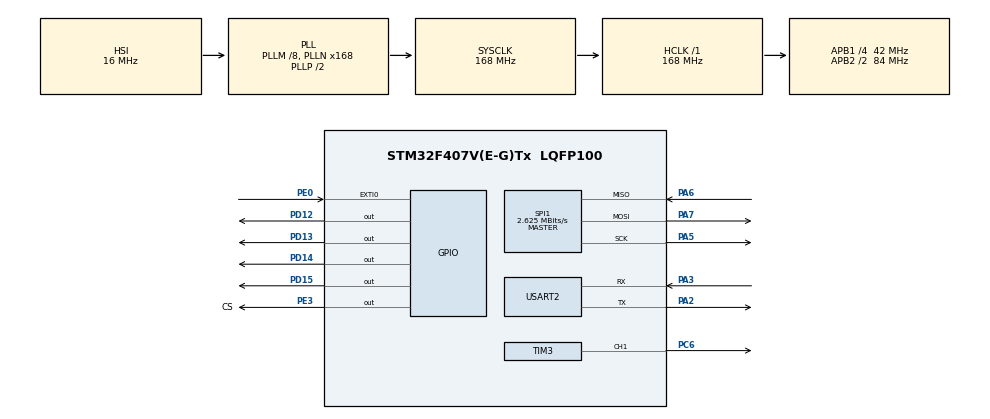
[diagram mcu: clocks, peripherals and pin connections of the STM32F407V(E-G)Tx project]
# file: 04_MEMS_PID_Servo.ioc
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FREERTOS.Queues01=aciKuyrukPID,1,uint32_t,0,Dynamic,NULL,NULL;aciKuyrukUART,1,uint32_t,0,Dynamic,NULL,NULL
FREERTOS.Tasks01=defaultTask,24,128,StartDefaultTask,Default,NULL,Dynamic,NULL,NULL;sensorTask,40,256,sensorStartTask,Default,NULL,Dynamic,NULL,NULL;pidTask,24,256,pidStartTask,Default,NULL,Dynamic,NULL,NULL;uartTask,8,256,uartStartTask,Default,NULL,Dynamic,NULL,NULL
Mcu.Family=STM32F4
Mcu.Name=STM32F407V(E-G)Tx
Mcu.Package=LQFP100
NVIC.EXTI0_IRQn=true\:5\:0\:false\:false\:true\:true\:true\:true\:true
NVIC.PriorityGroup=NVIC_PRIORITYGROUP_4
NVIC.TIM6_DAC_IRQn=true\:15\:0\:false\:false\:true\:false\:false\:true\:true
NVIC.TimeBase=TIM6_DAC_IRQn
NVIC.TimeBaseIP=TIM6
PA2.Mode=Asynchronous
PA2.Signal=USART2_TX
PA3.Mode=Asynchronous
PA3.Signal=USART2_RX
PA5.Mode=Full_Duplex_Master
PA5.Signal=SPI1_SCK
PA6.Mode=Full_Duplex_Master
PA6.Signal=SPI1_MISO
PA7.Mode=Full_Duplex_Master
PA7.Signal=SPI1_MOSI
PC6.Signal=S_TIM3_CH1
PD12.Signal=GPIO_Output
PD13.Signal=GPIO_Output
PD14.Signal=GPIO_Output
PD15.Signal=GPIO_Output
PE0.Signal=GPXTI0
PE3.GPIO_Label=CS
PE3.PinState=GPIO_PIN_SET
PE3.Signal=GPIO_Output
ProjectManager.HeapSize=0x200
ProjectManager.StackSize=0x400
ProjectManager.TargetToolchain=STM32CubeIDE
RCC.48MHZClocksFreq_Value=84000000
RCC.AHBFreq_Value=168000000
RCC.APB1CLKDivider=RCC_HCLK_DIV4
RCC.APB1Freq_Value=42000000
RCC.APB1TimFreq_Value=84000000
RCC.APB2CLKDivider=RCC_HCLK_DIV2
RCC.APB2Freq_Value=84000000
RCC.APB2TimFreq_Value=168000000
RCC.CortexFreq_Value=168000000
RCC.HCLKFreq_Value=168000000
RCC.HSE_VALUE=25000000
RCC.HSI_VALUE=16000000
RCC.LSE_VALUE=32768
RCC.PLLM=8
RCC.PLLN=168
RCC.SYSCLKFreq_VALUE=168000000
RCC.SYSCLKSource=RCC_SYSCLKSOURCE_PLLCLK
RCC.VCOOutputFreq_Value=336000000
SH.S_TIM3_CH1.0=TIM3_CH1,PWM Generation1 CH1
SPI1.BaudRatePrescaler=SPI_BAUDRATEPRESCALER_32
SPI1.CalculateBaudRate=2.625 MBits/s
SPI1.Direction=SPI_DIRECTION_2LINES
SPI1.Mode=SPI_MODE_MASTER
SPI1.VirtualType=VM_MASTER
TIM3.Channel-PWM\ Generation1\ CH1=TIM_CHANNEL_1
TIM3.Period=19999
TIM3.Prescaler=83
USART2.VirtualMode=VM_ASYNC
VP_FREERTOS_VS_CMSIS_V2.Mode=CMSIS_V2
VP_SYS_VS_tim6.Mode=TIM6
VP_TIM3_VS_ClockSourceINT.Mode=Internal
board=custom

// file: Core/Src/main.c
/* USER CODE BEGIN Header */
/**
  ******************************************************************************
  * @file           : main.c
  * @brief          : Main program body
  ******************************************************************************
  * @attention
  *
  * Copyright (c) 2026 STMicroelectronics.
  * All rights reserved.
  *
  * This software is licensed under terms that can be found in the LICENSE file
  * in the root directory of this software component.
  * If no LICENSE file comes with this software, it is provided AS-IS.
  *
  ******************************************************************************
  */
/* USER CODE END Header */
#include "main.h"
#include "cmsis_os.h"

/* USER CODE BEGIN Includes */

#include "lis3dsh.h"
#include "PID.h"
#include "math.h"
#include "string.h"
#include "stdio.h"

/* USER CODE END Includes */

/* USER CODE BEGIN PTD */

typedef enum {
	DURUM_KALIBRASYON,
	DURUM_CALISIYOR,
	DURUM_HATA,
	DURUM_DURDURULDU
} SistemDurumu;

/* USER CODE END PTD */

/* USER CODE BEGIN PD */

#define RAD_TO_DEG (180 / M_PI) // 180 / PI
#define DEG_THRES  15.0
#define SERVO_MIN_PULSE 500
#define SERVO_MAX_PULSE 2500

/* USER CODE END PD */

SPI_HandleTypeDef hspi1;

TIM_HandleTypeDef htim3;

UART_HandleTypeDef huart2;

/* Definitions for defaultTask */
osThreadId_t defaultTaskHandle;
const osThreadAttr_t defaultTask_attributes = {
  .name = "defaultTask",
  .stack_size = 128 * 4,
  .priority = (osPriority_t) osPriorityNormal,
};
/* Definitions for sensorTask */
osThreadId_t sensorTaskHandle;
const osThreadAttr_t sensorTask_attributes = {
  .name = "sensorTask",
  .stack_size = 256 * 4,
  .priority = (osPriority_t) osPriorityHigh,
};
/* Definitions for pidTask */
osThreadId_t pidTaskHandle;
const osThreadAttr_t pidTask_attributes = {
  .name = "pidTask",
  .stack_size = 256 * 4,
  .priority = (osPriority_t) osPriorityNormal,
};
/* Definitions for uartTask */
osThreadId_t uartTaskHandle;
const osThreadAttr_t uartTask_attributes = {
  .name = "uartTask",
  .stack_size = 256 * 4,
  .priority = (osPriority_t) osPriorityLow,
};
/* Definitions for aciKuyrukPID */
osMessageQueueId_t aciKuyrukPIDHandle;
const osMessageQueueAttr_t aciKuyrukPID_attributes = {
  .name = "aciKuyrukPID"
};
/* Definitions for aciKuyrukUART */
osMessageQueueId_t aciKuyrukUARTHandle;
const osMessageQueueAttr_t aciKuyrukUART_attributes = {
  .name = "aciKuyrukUART"
};
/* USER CODE BEGIN PV */

LIS3DSH_t mems;
PID_t rollPid;

volatile bool memsHazir = false;
volatile bool veriHazir = false;
volatile bool sensorHata = false;
volatile uint32_t sonVeriZamani = 0;
volatile uint16_t debugPulse = 0;
volatile float debugServoKomut = 0;

volatile SistemDurumu durum = DURUM_KALIBRASYON;
/* USER CODE END PV */

void SystemClock_Config(void);
static void MX_GPIO_Init(void);
static void MX_SPI1_Init(void);
static void MX_TIM3_Init(void);
static void MX_USART2_UART_Init(void);
void StartDefaultTask(void *argument);
void sensorStartTask(void *argument);
void pidStartTask(void *argument);
void uartStartTask(void *argument);

/* USER CODE BEGIN PFP */

void SetServoAngle(float angle);
void UART_SendString(char *str);
void floatYazdir(char *hedef, float deger);

/* USER CODE END PFP */

int main(void)
{

  /* MCU Configuration--------------------------------------------------------*/

  /* Reset of all peripherals, Initializes the Flash interface and the Systick. */
	HAL_Init();

  /* Configure the system clock */
  SystemClock_Config();

  /* Initialize all configured peripherals */
  MX_GPIO_Init();
  MX_SPI1_Init();
  MX_TIM3_Init();
  MX_USART2_UART_Init();
  /* USER CODE BEGIN 2 */

  HAL_TIM_PWM_Start(&htim3, TIM_CHANNEL_1);

  /* USER CODE END 2 */

  /* Init scheduler */
  osKernelInitialize();

  /* Create the queue(s) */
  /* creation of aciKuyrukPID */
  aciKuyrukPIDHandle = osMessageQueueNew (1, sizeof(uint32_t), &aciKuyrukPID_attributes);

  /* creation of aciKuyrukUART */
  aciKuyrukUARTHandle = osMessageQueueNew (1, sizeof(uint32_t), &aciKuyrukUART_attributes);

  /* Create the thread(s) */
  /* creation of defaultTask */
  defaultTaskHandle = osThreadNew(StartDefaultTask, NULL, &defaultTask_attributes);

  /* creation of sensorTask */
  sensorTaskHandle = osThreadNew(sensorStartTask, NULL, &sensorTask_attributes);

  /* creation of pidTask */
  pidTaskHandle = osThreadNew(pidStartTask, NULL, &pidTask_attributes);

  /* creation of uartTask */
  uartTaskHandle = osThreadNew(uartStartTask, NULL, &uartTask_attributes);

  /* Start scheduler */
  osKernelStart();

  /* We should never get here as control is now taken by the scheduler */

  /* Infinite loop */
  while (1)
  {

  }
}

void SystemClock_Config(void)
{
  RCC_OscInitTypeDef RCC_OscInitStruct = {0};
  RCC_ClkInitTypeDef RCC_ClkInitStruct = {0};

  /** Configure the main internal regulator output voltage
  */
  __HAL_RCC_PWR_CLK_ENABLE();
  __HAL_PWR_VOLTAGESCALING_CONFIG(PWR_REGULATOR_VOLTAGE_SCALE1);

  /** Initializes the RCC Oscillators according to the specified parameters
  * in the RCC_OscInitTypeDef structure.
  */
  RCC_OscInitStruct.OscillatorType = RCC_OSCILLATORTYPE_HSI;
  RCC_OscInitStruct.HSIState = RCC_HSI_ON;
  RCC_OscInitStruct.HSICalibrationValue = RCC_HSICALIBRATION_DEFAULT;
  RCC_OscInitStruct.PLL.PLLState = RCC_PLL_ON;
  RCC_OscInitStruct.PLL.PLLSource = RCC_PLLSOURCE_HSI;
  RCC_OscInitStruct.PLL.PLLM = 8;
  RCC_OscInitStruct.PLL.PLLN = 168;
  RCC_OscInitStruct.PLL.PLLP = RCC_PLLP_DIV2;
  RCC_OscInitStruct.PLL.PLLQ = 4;
  if (HAL_RCC_OscConfig(&RCC_OscInitStruct) != HAL_OK)
  {
    Error_Handler();
  }

  /** Initializes the CPU, AHB and APB buses clocks
  */
  RCC_ClkInitStruct.ClockType = RCC_CLOCKTYPE_HCLK|RCC_CLOCKTYPE_SYSCLK
                              |RCC_CLOCKTYPE_PCLK1|RCC_CLOCKTYPE_PCLK2;
  RCC_ClkInitStruct.SYSCLKSource = RCC_SYSCLKSOURCE_PLLCLK;
  RCC_ClkInitStruct.AHBCLKDivider = RCC_SYSCLK_DIV1;
  RCC_ClkInitStruct.APB1CLKDivider = RCC_HCLK_DIV4;
  RCC_ClkInitStruct.APB2CLKDivider = RCC_HCLK_DIV2;

  if (HAL_RCC_ClockConfig(&RCC_ClkInitStruct, FLASH_LATENCY_5) != HAL_OK)
  {
    Error_Handler();
  }
}

static void MX_SPI1_Init(void)
{

  /* SPI1 parameter configuration*/
  hspi1.Instance = SPI1;
  hspi1.Init.Mode = SPI_MODE_MASTER;
  hspi1.Init.Direction = SPI_DIRECTION_2LINES;
  hspi1.Init.DataSize = SPI_DATASIZE_8BIT;
  hspi1.Init.CLKPolarity = SPI_POLARITY_LOW;
  hspi1.Init.CLKPhase = SPI_PHASE_1EDGE;
  hspi1.Init.NSS = SPI_NSS_SOFT;
  hspi1.Init.BaudRatePrescaler = SPI_BAUDRATEPRESCALER_32;
  hspi1.Init.FirstBit = SPI_FIRSTBIT_MSB;
  hspi1.Init.TIMode = SPI_TIMODE_DISABLE;
  hspi1.Init.CRCCalculation = SPI_CRCCALCULATION_DISABLE;
  hspi1.Init.CRCPolynomial = 10;
  if (HAL_SPI_Init(&hspi1) != HAL_OK)
  {
    Error_Handler();
  }

}

static void MX_TIM3_Init(void)
{

  TIM_ClockConfigTypeDef sClockSourceConfig = {0};
  TIM_MasterConfigTypeDef sMasterConfig = {0};
  TIM_OC_InitTypeDef sConfigOC = {0};

  htim3.Instance = TIM3;
  htim3.Init.Prescaler = 83;
  htim3.Init.CounterMode = TIM_COUNTERMODE_UP;
  htim3.Init.Period = 19999;
  htim3.Init.ClockDivision = TIM_CLOCKDIVISION_DIV1;
  htim3.Init.AutoReloadPreload = TIM_AUTORELOAD_PRELOAD_DISABLE;
  if (HAL_TIM_Base_Init(&htim3) != HAL_OK)
  {
    Error_Handler();
  }
  sClockSourceConfig.ClockSource = TIM_CLOCKSOURCE_INTERNAL;
  if (HAL_TIM_ConfigClockSource(&htim3, &sClockSourceConfig) != HAL_OK)
  {
    Error_Handler();
  }
  if (HAL_TIM_PWM_Init(&htim3) != HAL_OK)
  {
    Error_Handler();
  }
  sMasterConfig.MasterOutputTrigger = TIM_TRGO_RESET;
  sMasterConfig.MasterSlaveMode = TIM_MASTERSLAVEMODE_DISABLE;
  if (HAL_TIMEx_MasterConfigSynchronization(&htim3, &sMasterConfig) != HAL_OK)
  {
    Error_Handler();
  }
  sConfigOC.OCMode = TIM_OCMODE_PWM1;
  sConfigOC.Pulse = 0;
  sConfigOC.OCPolarity = TIM_OCPOLARITY_HIGH;
  sConfigOC.OCFastMode = TIM_OCFAST_DISABLE;
  if (HAL_TIM_PWM_ConfigChannel(&htim3, &sConfigOC, TIM_CHANNEL_1) != HAL_OK)
  {
    Error_Handler();
  }
  HAL_TIM_MspPostInit(&htim3);

}

static void MX_USART2_UART_Init(void)
{

  huart2.Instance = USART2;
  huart2.Init.BaudRate = 115200;
  huart2.Init.WordLength = UART_WORDLENGTH_8B;
  huart2.Init.StopBits = UART_STOPBITS_1;
  huart2.Init.Parity = UART_PARITY_NONE;
  huart2.Init.Mode = UART_MODE_TX_RX;
  huart2.Init.HwFlowCtl = UART_HWCONTROL_NONE;
  huart2.Init.OverSampling = UART_OVERSAMPLING_16;
  if (HAL_UART_Init(&huart2) != HAL_OK)
  {
    Error_Handler();
  }

}

static void MX_GPIO_Init(void)
{
  GPIO_InitTypeDef GPIO_InitStruct = {0};

  /* GPIO Ports Clock Enable */
  __HAL_RCC_GPIOE_CLK_ENABLE();
  __HAL_RCC_GPIOA_CLK_ENABLE();
  __HAL_RCC_GPIOD_CLK_ENABLE();
  __HAL_RCC_GPIOC_CLK_ENABLE();

  /*Configure GPIO pin Output Level */
  HAL_GPIO_WritePin(CS_GPIO_Port, CS_Pin, GPIO_PIN_SET);

  /*Configure GPIO pin Output Level */
  HAL_GPIO_WritePin(GPIOD, GPIO_PIN_12|GPIO_PIN_13|GPIO_PIN_14|GPIO_PIN_15, GPIO_PIN_RESET);

  /*Configure GPIO pin : CS_Pin */
  GPIO_InitStruct.Pin = CS_Pin;
  GPIO_InitStruct.Mode = GPIO_MODE_OUTPUT_PP;
  GPIO_InitStruct.Pull = GPIO_NOPULL;
  GPIO_InitStruct.Speed = GPIO_SPEED_FREQ_LOW;
  HAL_GPIO_Init(CS_GPIO_Port, &GPIO_InitStruct);

  /*Configure GPIO pins : PD12 PD13 PD14 PD15 */
  GPIO_InitStruct.Pin = GPIO_PIN_12|GPIO_PIN_13|GPIO_PIN_14|GPIO_PIN_15;
  GPIO_InitStruct.Mode = GPIO_MODE_OUTPUT_PP;
  GPIO_InitStruct.Pull = GPIO_NOPULL;
  GPIO_InitStruct.Speed = GPIO_SPEED_FREQ_LOW;
  HAL_GPIO_Init(GPIOD, &GPIO_InitStruct);

  /*Configure GPIO pin : PE0 */
  GPIO_InitStruct.Pin = GPIO_PIN_0;
  GPIO_InitStruct.Mode = GPIO_MODE_IT_RISING;
  GPIO_InitStruct.Pull = GPIO_NOPULL;
  HAL_GPIO_Init(GPIOE, &GPIO_InitStruct);

  /* EXTI interrupt init*/
  HAL_NVIC_SetPriority(EXTI0_IRQn, 5, 0);
  HAL_NVIC_EnableIRQ(EXTI0_IRQn);

}

/* USER CODE BEGIN 4 */

void HAL_GPIO_EXTI_Callback(uint16_t GPIO_Pin)
{
    if (GPIO_Pin == GPIO_PIN_0){
        veriHazir = true;
        sonVeriZamani = HAL_GetTick();
    }
}

void SetServoAngle(float angle)
{
    if (angle < 0.0f)
    		angle = 0.0f;
    if (angle > 180.0f)
    		angle = 180.0f;

    uint16_t pulse = SERVO_MIN_PULSE + (uint16_t)((angle / 180.0f) * (SERVO_MAX_PULSE - SERVO_MIN_PULSE));
    debugPulse = pulse;
    __HAL_TIM_SET_COMPARE(&htim3, TIM_CHANNEL_1, pulse);
}

void UART_SendString(char *str)
{
    HAL_UART_Transmit(&huart2, (uint8_t*)str, strlen(str), 100);
}

void floatYazdir(char *hedef, float deger)
{
    if (deger < 0)
    {
        hedef[0] = '-';
        deger = -deger;
        hedef++;
    }
    int tam = (int)deger;
    int ondalik = (int)((deger - tam) * 100);
    sprintf(hedef, "%d.%02d", tam, ondalik);
}

/* USER CODE END 4 */

void StartDefaultTask(void *argument)
{
  for(;;)
  {
    osDelay(1);
  }
}

void sensorStartTask(void *argument)
{
    durum = DURUM_KALIBRASYON;

    memsHazir = LIS3DSH_Initialization(&mems, &hspi1, CS_GPIO_Port, CS_Pin);
    if (memsHazir)
    {
        LIS3DSH_Calibrate(&mems, 400);
        sonVeriZamani = HAL_GetTick();
        durum = DURUM_CALISIYOR;   // kalibrasyon bitti, calismaya gec
    }
    else
    {
        durum = DURUM_HATA;   // sensor hic kurulamadi
    }

    for(;;)
    {
        if (memsHazir && veriHazir)
        {
            veriHazir = false;
            sensorHata = false;

            LIS3DSH_Read_XYZ(&mems);

            mems.roll  = atan2f(mems.y_cal, sqrtf(mems.x_cal*mems.x_cal + mems.z_cal*mems.z_cal)) * RAD_TO_DEG;
            mems.pitch = atan2f(-mems.x_cal, sqrtf(mems.y_cal*mems.y_cal + mems.z_cal*mems.z_cal)) * RAD_TO_DEG;

            mems.roll_filtered  = FILTER_ALPHA * mems.roll  + (1.0f - FILTER_ALPHA) * mems.roll_filtered;
            mems.pitch_filtered = FILTER_ALPHA * mems.pitch + (1.0f - FILTER_ALPHA) * mems.pitch_filtered;

            HAL_GPIO_WritePin(GPIOD, GPIO_PIN_12, (mems.pitch_filtered < -15.0f) ? GPIO_PIN_SET : GPIO_PIN_RESET);
            HAL_GPIO_WritePin(GPIOD, GPIO_PIN_14, (mems.pitch_filtered >  15.0f) ? GPIO_PIN_SET : GPIO_PIN_RESET);
            HAL_GPIO_WritePin(GPIOD, GPIO_PIN_13, (mems.roll_filtered  < -15.0f) ? GPIO_PIN_SET : GPIO_PIN_RESET);
            HAL_GPIO_WritePin(GPIOD, GPIO_PIN_15, (mems.roll_filtered  >  15.0f) ? GPIO_PIN_SET : GPIO_PIN_RESET);

            float aciDegeri = mems.roll_filtered;
            osMessageQueuePut(aciKuyrukPIDHandle, &aciDegeri, 0, 0);
            osMessageQueuePut(aciKuyrukUARTHandle, &aciDegeri, 0, 0);
        }

        if (memsHazir && (HAL_GetTick() - sonVeriZamani > 100))
        {
            sensorHata = true;
            if (durum == DURUM_CALISIYOR)
            	durum = DURUM_HATA;
        }
        else if (!sensorHata && durum == DURUM_HATA)
        {
        	durum = DURUM_CALISIYOR;   // hata gecti, geri don
        }

        osDelay(1);
    }
}

void pidStartTask(void *argument)
{
    bool ilkCalisma = true;
    float alinanAci;

    for(;;)
    {
        switch (durum)
        {
            case DURUM_KALIBRASYON:
                SetServoAngle(90.0f);
                osDelay(50);
                break;

            case DURUM_CALISIYOR:
                if (ilkCalisma)
                {
                    PID_Init(&rollPid, 1.7f, 0.03f, 0.005f, -90.0f, 90.0f, -80.0f, 80.0f);
                    PID_Reset(&rollPid);
                    ilkCalisma = false;
                }
                if (osMessageQueueGet(aciKuyrukPIDHandle, &alinanAci, NULL, 50) == osOK)
                {
                    float servoKomut = PID_Compute(&rollPid, 90.0f, alinanAci + 90.0f);
                    debugServoKomut = servoKomut;
                    SetServoAngle(90.0f + servoKomut);
                }
                break;

            case DURUM_HATA:
                SetServoAngle(90.0f);
                osDelay(50);
                break;

            case DURUM_DURDURULDU:
                SetServoAngle(90.0f);
                osDelay(50);
                break;
        }
    }
}

void uartStartTask(void *argument)
{
    float alinanAci;
    uint8_t sayac = 0;

    for(;;)
    {
        if (osMessageQueueGet(aciKuyrukUARTHandle, &alinanAci, NULL, osWaitForever) == osOK)
        {
            sayac++;
            if (sayac >= 5)
            {
                sayac = 0;

                char rollStr[16], servoStr[16], buffer[80];
                floatYazdir(rollStr, alinanAci);
                floatYazdir(servoStr, debugServoKomut);

                char *durumStr;
                switch (durum)
                {
                    case DURUM_KALIBRASYON: durumStr = "KAL";  break;
                    case DURUM_CALISIYOR:   durumStr = "OK";   break;
                    case DURUM_HATA:        durumStr = "HATA"; break;
                    case DURUM_DURDURULDU:  durumStr = "DUR";  break;
                    default:                durumStr = "?";    break;
                }

                sprintf(buffer, "%s,%s,%d,%s\r\n", rollStr, servoStr, debugPulse, durumStr);
                UART_SendString(buffer);
            }
        }
    }
}

void HAL_TIM_PeriodElapsedCallback(TIM_HandleTypeDef *htim)
{
  if (htim->Instance == TIM6) {
    HAL_IncTick();
  }
}

void Error_Handler(void)
{
  __disable_irq();
  while (1)
  {
  }
}
